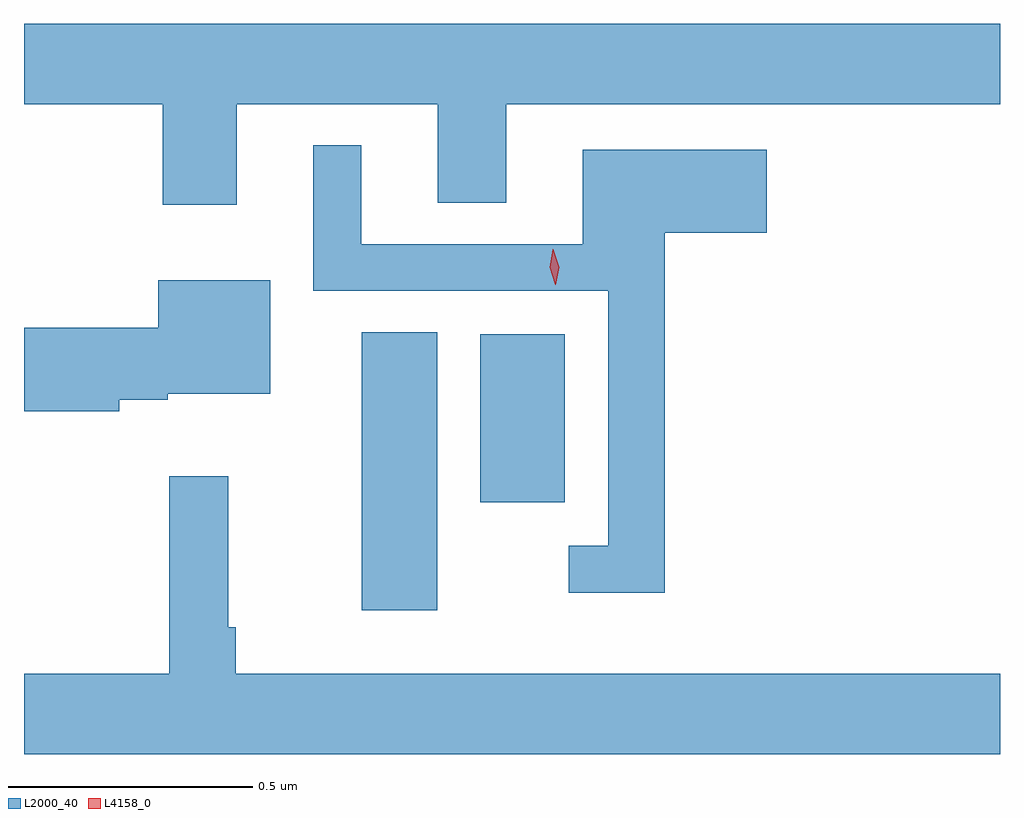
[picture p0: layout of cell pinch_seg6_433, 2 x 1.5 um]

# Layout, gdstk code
import gdstk
lib = gdstk.Library(unit=1e-6, precision=1e-09)
def R(c, l, rs):  # rectangles x0, y0, x1, y1
    for r in rs: c.add(gdstk.rectangle(r[:2], r[2:], *l))
def P(c, l, *ps):  # polygons
    for p in ps: c.add(gdstk.Polygon(p, *l))
L2000_40 = (2000, 40)
L4158_0 = (4158, 0)

pinch_seg6_433 = lib.new_cell('pinch_seg6_433')
R(pinch_seg6_433, L2000_40, [(673.043,927.651,673.198,928.22), (673.286,927.872,673.459,928.216)])
P(pinch_seg6_433, L2000_40, [(672.787,928.688),(673.199,928.688),(673.199,928.486),(673.339,928.486),(673.339,928.688),(674.351,928.688),(674.351,928.852),(672.351,928.852),(672.351,928.688),(672.635,928.688),(672.635,928.482),(672.787,928.482)],
  [(673.664,928.424),(673.873,928.424),(673.873,928.594),(673.496,928.594),(673.496,928.401),(673.042,928.401),(673.042,928.603),(672.944,928.603),(672.944,928.305),(673.548,928.305),(673.548,927.783),(673.467,927.783),(673.467,927.686),(673.664,927.686)],
  [(672.546,928.082),(672.646,928.082),(672.646,928.094),(672.856,928.094),(672.856,928.327),(672.626,928.327),(672.626,928.23),(672.351,928.23),(672.351,928.058),(672.546,928.058)],
  [(674.351,927.52),(672.785,927.52),(672.785,927.616),(672.77,927.616),(672.77,927.925),(672.649,927.925),(672.649,927.52),(672.351,927.52),(672.351,927.356),(674.351,927.356)])
P(pinch_seg6_433, L4158_0, [(673.44,928.318),(673.428,928.353),(673.435,928.39),(673.436,928.39),(673.436,928.39),(673.448,928.354),(673.441,928.318),(673.441,928.318)])

lib.write_gds('pinch_seg6_433.gds')
